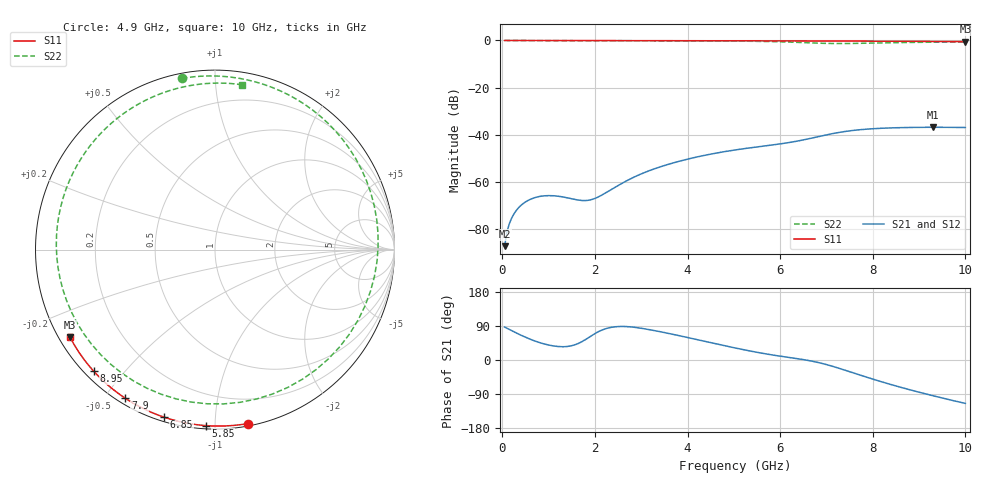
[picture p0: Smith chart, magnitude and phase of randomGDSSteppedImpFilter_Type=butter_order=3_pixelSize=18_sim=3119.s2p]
! freq	dB(S11)	phase(S11)	dB(S12)	phase(S12)
!  dB(S21)	phase(S21)	dB(S22)	phase(S22)
!S-par simulation data
#  GHz  S  DB  R 50
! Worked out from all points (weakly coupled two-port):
!   200 points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, 50 MHz to 10 GHz, reference 50 ohm
!   highest |S21| = -36.90 dB at 9.3 GHz (marker M1); lowest = -87.4 dB at 50 MHz (marker M2)
!   lowest |S11| = -0.5 dB at 10 GHz (marker M3), VSWR 34.58, Z = 1.56 - j14 ohm
!   |S11| at or under -10 dB: nowhere
!   |S22| runs from -1.3 to 0.0 dB; largest |S21 - S12| = 0
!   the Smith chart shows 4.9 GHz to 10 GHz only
!   S11 on the Smith chart (normalised r, x): 4.9 GHz: 0.02, -1.21; 5.85 GHz: 0.02, -0.95; 6.85 GHz: 0.02, -0.74; 7.9 GHz: 0.02, -0.57; 8.95 GHz: 0.03, -0.41; 10 GHz: 0.03, -0.28
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0.05  -0.00 -0.9  -87.42 86.8  -87.42 86.8  -0.00 -5.6
0.4  -0.01 -6.9  -70.14 65.7  -70.14 65.7  -0.05 -42.7
0.75  -0.02 -12.9  -66.54 48.1  -66.54 48.1  -0.08 -75.2
1.15  -0.03 -19.7  -66.07 36.3  -66.07 36.3  -0.10 -105.3
1.75  -0.04 -29.7  -68.04 50.5  -68.04 50.5  -0.11 -139.4
2.5  -0.05 -42.1  -61.66 88.3  -61.66 88.3  -0.11 -171.3
3.4  -0.08 -56.5  -53.78 74.9  -53.78 74.9  -0.14 156.9
4.15  -0.10 -68.1  -49.74 55.4  -49.74 55.4  -0.18 130.7
4.9  -0.12 -79.3  -46.92 35.1  -46.92 35.1  -0.25 100.9
5.05  -0.13 -81.5  -46.47 31.2  -46.47 31.2  -0.27 94.1
5.85  -0.16 -93.0  -44.36 12.9  -44.36 12.9  -0.50 48.0
6.35  -0.18 -100.0  -42.85 3.9  -42.85 3.9  -0.79 5.8
6.7  -0.20 -104.9  -41.42 -3.4  -41.42 -3.4  -1.06 -32.0
6.85  -0.21 -106.9  -40.76 -7.4  -40.76 -7.4  -1.17 -49.9
7.1  -0.23 -110.3  -39.71 -15.5  -39.71 -15.5  -1.29 -80.7
7.3  -0.24 -113.0  -38.99 -22.9  -38.99 -22.9  -1.31 -104.7
7.6  -0.27 -117.0  -38.18 -34.8  -38.18 -34.8  -1.26 -137.5
7.9  -0.29 -121.0  -37.64 -46.6  -37.64 -46.6  -1.15 -165.3
8.35  -0.33 -127.0  -37.19 -63.3  -37.19 -63.3  -0.97 161.2
8.95  -0.38 -134.9  -36.94 -83.4  -36.94 -83.4  -0.80 126.9
9.3  -0.42 -139.5  -36.90 -94.3  -36.90 -94.3  -0.73 110.1
10  -0.50 -148.8  -36.99 -114.6  -36.99 -114.6  -0.62 80.7
